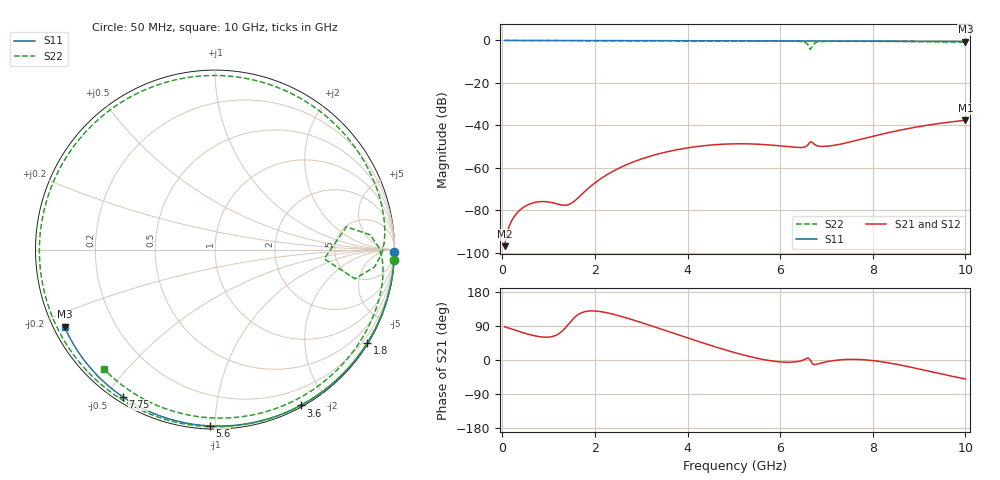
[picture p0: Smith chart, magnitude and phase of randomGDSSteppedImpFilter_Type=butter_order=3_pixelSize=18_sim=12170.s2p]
! freq	dB(S11)	phase(S11)	dB(S12)	phase(S12)
!  dB(S21)	phase(S21)	dB(S22)	phase(S22)
!S-par simulation data
#  GHz  S  DB  R 50
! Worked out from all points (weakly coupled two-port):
!   200 points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, 50 MHz to 10 GHz, reference 50 ohm
!   highest |S21| = -37.55 dB at 10 GHz (marker M1); lowest = -96.8 dB at 50 MHz (marker M2)
!   lowest |S11| = -0.5 dB at 10 GHz (marker M3), VSWR 33.53, Z = 1.58 - j12.1 ohm
!   |S11| at or under -10 dB: nowhere
!   |S22| runs from -4.3 to 0.0 dB; largest |S21 - S12| = 0
!   S11 on the Smith chart (normalised r, x): 50 MHz: open; 1.8 GHz: 0.03, -3.55; 3.6 GHz: 0.02, -1.69; 5.6 GHz: 0.02, -0.97; 7.75 GHz: 0.02, -0.55; 10 GHz: 0.03, -0.24
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0.05  -0.00 -0.9  -96.80 87.8  -96.80 87.8  -0.00 -3.4
0.45  -0.01 -8.0  -78.63 71.9  -78.63 71.9  -0.04 -30.3
0.95  -0.02 -16.7  -75.88 60.2  -75.88 60.2  -0.08 -62.7
1.4  -0.03 -24.6  -77.42 90.3  -77.42 90.3  -0.11 -90.5
1.75  -0.04 -30.6  -71.71 126.4  -71.71 126.4  -0.13 -111.0
1.8  -0.04 -31.4  -70.70 128.0  -70.70 128.0  -0.13 -113.8
2.6  -0.06 -44.9  -59.26 113.9  -59.26 113.9  -0.17 -157.5
3.4  -0.08 -58.0  -53.22 82.8  -53.22 82.8  -0.20 161.2
3.6  -0.08 -61.2  -52.19 74.6  -52.19 74.6  -0.21 151.0
4.35  -0.10 -73.0  -49.54 44.4  -49.54 44.4  -0.25 112.6
5.05  -0.13 -83.6  -48.62 18.5  -48.62 18.5  -0.27 76.6
5.6  -0.15 -91.8  -48.91 2.2  -48.91 2.2  -0.29 48.4
6.3  -0.19 -101.9  -50.21 -5.3  -50.21 -5.3  -0.37 11.9
6.6  -0.20 -106.1  -49.12 5.6  -49.12 5.6  -1.98 -11.8
6.65  -0.21 -106.8  -47.70 0.2  -47.70 0.2  -4.28 -4.8
6.7  -0.21 -107.6  -48.10 -10.6  -48.10 -10.6  -2.58 9.8
6.8  -0.22 -109.0  -49.56 -10.8  -49.56 -10.8  -0.77 0.5
6.95  -0.23 -111.1  -49.85 -6.0  -49.85 -6.0  -0.46 -9.9
7.75  -0.28 -122.1  -46.47 1.2  -46.47 1.2  -0.40 -46.4
8.35  -0.33 -130.3  -43.32 -7.8  -43.32 -7.8  -0.47 -70.1
9.15  -0.42 -141.2  -39.98 -27.8  -39.98 -27.8  -0.60 -100.1
10  -0.52 -152.8  -37.55 -50.0  -37.55 -50.0  -0.83 -132.8
